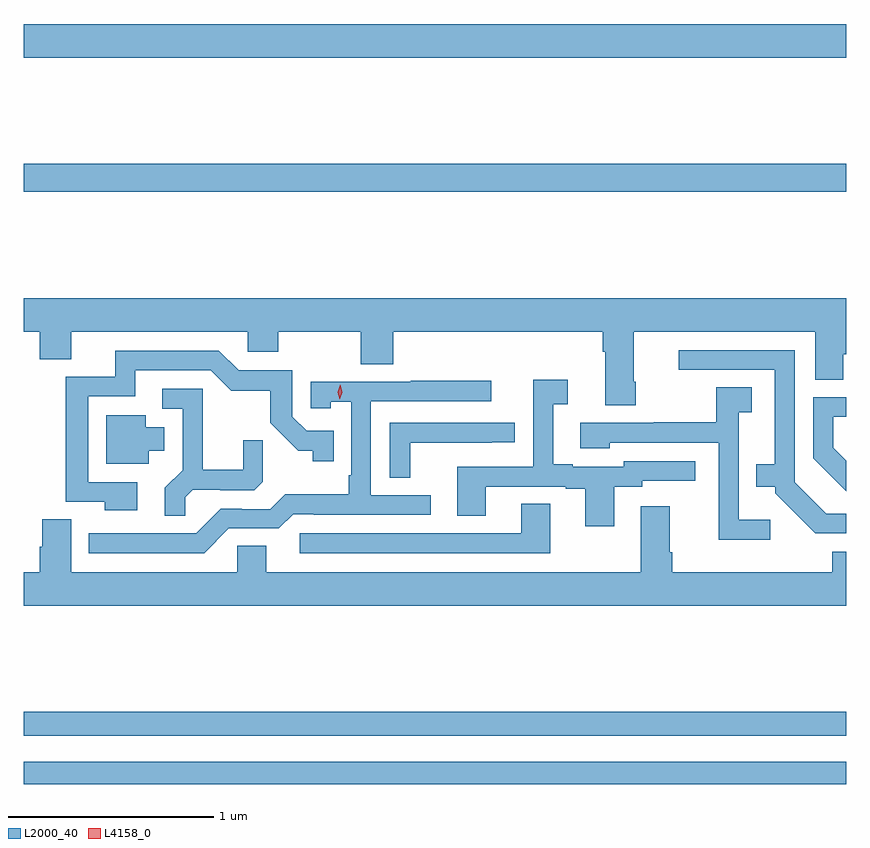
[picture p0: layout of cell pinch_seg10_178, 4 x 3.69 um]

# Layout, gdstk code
import gdstk
lib = gdstk.Library(unit=1e-6, precision=1e-09)
def R(c, l, rs):  # rectangles x0, y0, x1, y1
    for r in rs: c.add(gdstk.rectangle(r[:2], r[2:], *l))
def P(c, l, *ps):  # polygons
    for p in ps: c.add(gdstk.Polygon(p, *l))
L2000_40 = (2000, 40)
L4158_0 = (4158, 0)

pinch_seg10_178 = lib.new_cell('pinch_seg10_178')
R(pinch_seg10_178, L2000_40, [(755.656,1270.146,759.656,1270.254), (755.656,1270.38,759.656,1270.496), (755.656,1273.024,759.656,1273.16), (755.656,1273.676,759.656,1273.84)])
P(pinch_seg10_178, L2000_40, [(758.631,1272.1),(758.623,1272.1),(758.623,1272.344),(759.503,1272.344),(759.503,1272.112),(759.641,1272.112),(759.641,1272.234),(759.656,1272.234),(759.656,1272.508),(755.656,1272.508),(755.656,1272.344),(755.735,1272.344),(755.735,1272.211),(755.887,1272.211),(755.887,1272.344),(756.747,1272.344),(756.747,1272.246),(756.894,1272.246),(756.894,1272.344),(757.294,1272.344),(757.294,1272.187),(757.454,1272.187),(757.454,1272.344),(758.471,1272.344),(758.471,1272.248),(758.483,1272.248),(758.483,1271.988),(758.631,1271.988)],
  [(759.656,1271.46),(759.558,1271.46),(759.405,1271.613),(759.405,1272.255),(758.841,1272.255),(758.841,1272.159),(759.308,1272.159),(759.308,1271.701),(759.217,1271.701),(759.217,1271.591),(759.309,1271.591),(759.309,1271.559),(759.504,1271.364),(759.656,1271.364)],
  [(756.208,1271.613),(755.97,1271.613),(755.97,1272.03),(756.199,1272.03),(756.199,1272.156),(756.567,1272.156),(756.666,1272.058),(756.855,1272.058),(756.855,1271.902),(756.992,1271.765),(757.062,1271.765),(757.062,1271.715),(757.163,1271.715),(757.163,1271.862),(757.032,1271.862),(756.963,1271.931),(756.963,1272.156),(756.702,1272.156),(756.606,1272.252),(756.101,1272.252),(756.101,1272.126),(755.862,1272.126),(755.862,1271.517),(756.052,1271.517),(756.052,1271.477),(756.208,1271.477)],
  [(758.527,1271.592),(758.664,1271.592),(758.664,1271.619),(758.92,1271.619),(758.92,1271.715),(758.574,1271.715),(758.574,1271.688),(758.326,1271.688),(758.326,1271.701),(758.23,1271.701),(758.23,1271.992),(758.302,1271.992),(758.302,1272.112),(758.133,1272.112),(758.133,1271.688),(757.763,1271.688),(757.763,1271.449),(757.903,1271.449),(757.903,1271.592),(758.291,1271.592),(758.291,1271.58),(758.387,1271.58),(758.387,1271.4),(758.527,1271.4)],
  [(756.654,1271.388),(756.897,1271.388),(756.966,1271.457),(757.066,1271.457),(757.066,1271.454),(757.636,1271.454),(757.636,1271.55),(757.344,1271.55),(757.344,1272.006),(757.93,1272.006),(757.93,1272.105),(757.537,1272.105),(757.537,1272.102),(757.053,1272.102),(757.053,1271.973),(757.149,1271.973),(757.149,1272.005),(757.248,1272.005),(757.248,1271.647),(757.236,1271.647),(757.236,1271.554),(756.928,1271.554),(756.855,1271.481),(756.716,1271.481),(756.716,1271.484),(756.615,1271.484),(756.495,1271.364),(755.972,1271.364),(755.972,1271.268),(756.534,1271.268)],
  [(759.286,1271.431),(759.132,1271.431),(759.132,1271.953),(759.196,1271.953),(759.196,1272.074),(759.024,1272.074),(759.024,1271.904),(758.719,1271.904),(758.719,1271.901),(758.361,1271.901),(758.361,1271.777),(758.505,1271.777),(758.505,1271.805),(759.036,1271.805),(759.036,1271.573),(759.034,1271.573),(759.034,1271.333),(759.286,1271.333)],
  [(756.441,1271.54),(756.478,1271.577),(756.612,1271.577),(756.612,1271.574),(756.777,1271.574),(756.818,1271.615),(756.818,1271.817),(756.724,1271.817),(756.724,1271.674),(756.527,1271.674),(756.527,1272.066),(756.33,1272.066),(756.33,1271.97),(756.429,1271.97),(756.429,1271.671),(756.343,1271.585),(756.343,1271.449),(756.441,1271.449)],
  [(759.656,1271.716),(759.592,1271.78),(759.592,1271.93),(759.656,1271.93),(759.656,1272.027),(759.495,1272.027),(759.495,1271.729),(759.656,1271.568)],
  [(756.265,1271.765),(756.34,1271.765),(756.34,1271.881),(756.25,1271.881),(756.25,1271.938),(756.059,1271.938),(756.059,1271.702),(756.265,1271.702)],
  [(757.536,1271.805),(757.931,1271.805),(757.931,1271.806),(758.044,1271.806),(758.044,1271.901),(757.437,1271.901),(757.437,1271.635),(757.536,1271.635)],
  [(758.215,1271.507),(758.075,1271.507),(758.075,1271.364),(756.999,1271.364),(756.999,1271.268),(758.215,1271.268)],
  [(759.656,1271.275),(759.587,1271.275),(759.587,1271.176),(758.81,1271.176),(758.81,1271.272),(758.797,1271.272),(758.797,1271.497),(758.657,1271.497),(758.657,1271.176),(756.835,1271.176),(756.835,1271.303),(756.696,1271.303),(756.696,1271.176),(755.887,1271.176),(755.887,1271.432),(755.747,1271.432),(755.747,1271.298),(755.735,1271.298),(755.735,1271.176),(755.656,1271.176),(755.656,1271.012),(759.656,1271.012)])
P(pinch_seg10_178, L4158_0, [(757.194,1272.015),(757.194,1272.015),(757.184,1272.051),(757.195,1272.087),(757.195,1272.087),(757.195,1272.087),(757.204,1272.05),(757.194,1272.015)])

lib.write_gds('pinch_seg10_178.gds')
